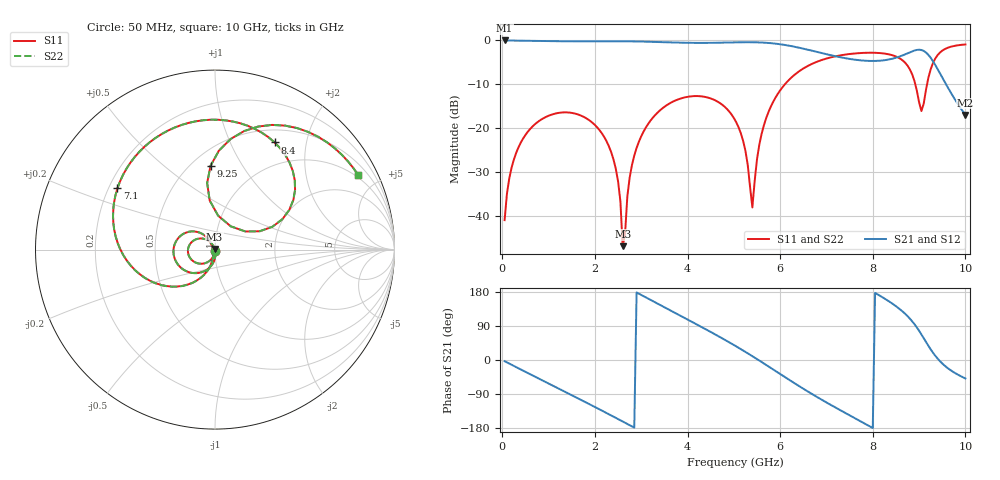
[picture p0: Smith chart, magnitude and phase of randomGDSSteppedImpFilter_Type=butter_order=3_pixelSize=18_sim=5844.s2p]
! freq	dB(S11)	phase(S11)	dB(S12)	phase(S12)
!  dB(S21)	phase(S21)	dB(S22)	phase(S22)
!S-par simulation data
#  GHz  S  DB  R 50
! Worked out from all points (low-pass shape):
!   200 points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, 50 MHz to 10 GHz, reference 50 ohm
!   highest |S21| = -0.01 dB at 50 MHz (marker M1); lowest = -17.0 dB at 10 GHz (marker M2)
!   |S21| within 3 dB of the highest: start of sweep to 6.946 GHz; 8.735 GHz to 9.174 GHz (438.9 MHz wide, 4.9 % of centre)
!   lowest |S11| = -46.9 dB at 2.6 GHz (marker M3), VSWR 1.01, Z = 49.8 + j0.391 ohm
!   |S11| at or under -10 dB: start of sweep to 6.103 GHz; 8.917 GHz to 9.173 GHz (255.3 MHz wide, 2.82 % of centre)
!   |S22| runs from -46.9 to -0.9 dB; largest |S21 - S12| = 0
!   S11 on the Smith chart (normalised r, x): 50 MHz: 1.00, -0.02; 7.1 GHz: 0.24, +0.27; 8.4 GHz: 0.66, +1.49; 9.25 GHz: 0.62, +0.74; 10 GHz: 0.89, +3.89
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0.05  -41.01 -91.3  -0.01 -3.2  -0.01 -3.2  -41.01 -91.3
0.2  -29.06 -102.3  -0.03 -12.6  -0.03 -12.6  -29.06 -102.3
0.55  -20.85 -124.9  -0.08 -34.4  -0.08 -34.4  -20.85 -124.9
1.75  -17.40 161.0  -0.20 -108.3  -0.20 -108.3  -17.40 161.0
2.4  -27.11 120.9  -0.18 -149.4  -0.18 -149.4  -27.11 121.0
2.55  -36.67 113.6  -0.19 -159.0  -0.19 -159.0  -36.67 113.9
2.6  -46.94 119.3  -0.19 -162.3  -0.19 -162.3  -46.91 120.4
2.85  -26.26 -90.2  -0.22 -178.5  -0.22 -178.5  -26.26 -90.3
3.4  -16.00 -125.0  -0.37 145.6  -0.37 145.6  -16.00 -125.1
4.25  -12.71 -179.2  -0.57 90.5  -0.57 90.5  -12.71 -179.3
5.05  -18.64 130.0  -0.44 36.0  -0.44 36.0  -18.64 129.6
5.25  -25.18 122.3  -0.41 21.4  -0.41 21.4  -25.21 121.4
5.4  -38.10 -163.9  -0.42 10.1  -0.42 10.1  -38.78 -163.2
5.55  -23.78 -104.3  -0.46 -1.4  -0.46 -1.4  -23.81 -103.4
5.75  -16.28 -113.7  -0.58 -17.1  -0.58 -17.1  -16.29 -113.2
6.7  -5.29 175.9  -2.38 -90.7  -2.38 -90.7  -5.29 176.1
7.1  -3.85 147.8  -3.39 -119.0  -3.39 -119.0  -3.85 147.9
8.35  -3.18 64.5  -4.35 154.7  -4.35 154.7  -3.18 64.6
8.4  -3.31 60.9  -4.23 150.7  -4.23 150.7  -3.31 60.9
9.05  -16.11 56.0  -2.18 67.6  -2.18 67.6  -16.10 56.0
9.25  -6.59 93.0  -3.96 28.2  -3.96 28.2  -6.59 93.0
10  -0.92 27.5  -16.98 -48.7  -16.98 -48.7  -0.92 27.5
